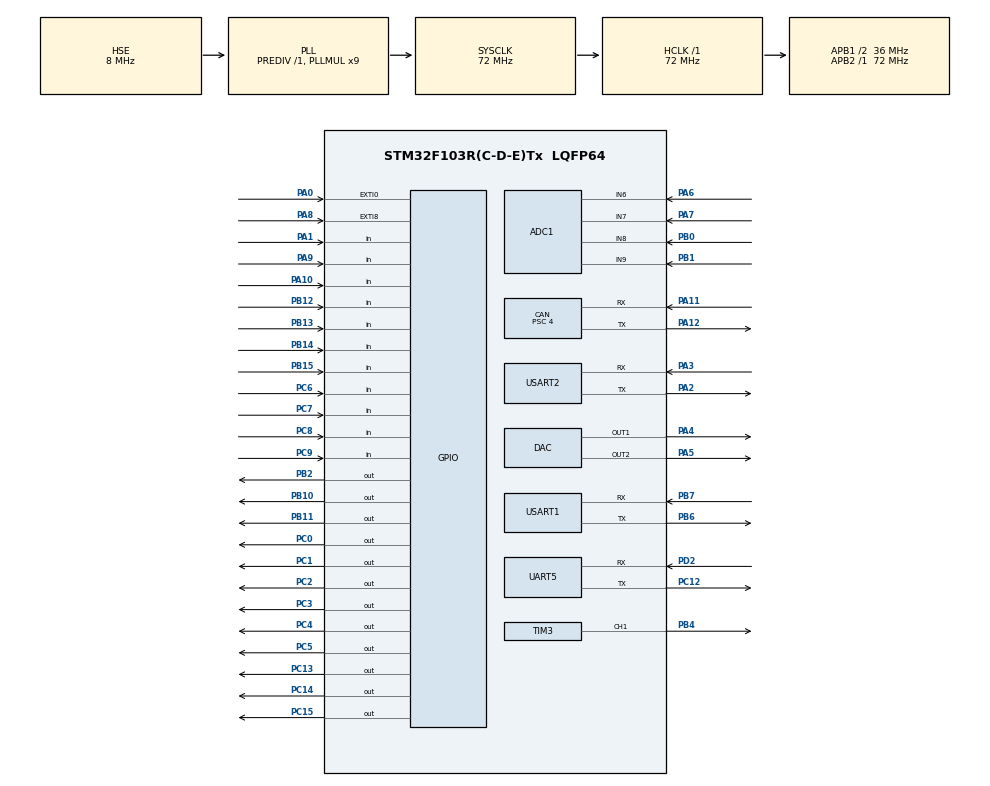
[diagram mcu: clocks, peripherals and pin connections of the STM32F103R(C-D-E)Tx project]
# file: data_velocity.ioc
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ADC1.Channel-2\#ChannelRegularConversion=ADC_CHANNEL_6
ADC1.Channel-3\#ChannelRegularConversion=ADC_CHANNEL_7
ADC1.Channel-4\#ChannelRegularConversion=ADC_CHANNEL_8
ADC1.Channel-5\#ChannelRegularConversion=ADC_CHANNEL_9
ADC1.ContinuousConvMode=ENABLE
ADC1.NbrOfConversion=4
ADC1.NbrOfConversionFlag=1
ADC1.Rank-2\#ChannelRegularConversion=1
ADC1.Rank-3\#ChannelRegularConversion=2
ADC1.Rank-4\#ChannelRegularConversion=3
ADC1.Rank-5\#ChannelRegularConversion=4
ADC1.SamplingTime-2\#ChannelRegularConversion=ADC_SAMPLETIME_1CYCLE_5
ADC1.SamplingTime-3\#ChannelRegularConversion=ADC_SAMPLETIME_1CYCLE_5
ADC1.SamplingTime-4\#ChannelRegularConversion=ADC_SAMPLETIME_1CYCLE_5
ADC1.SamplingTime-5\#ChannelRegularConversion=ADC_SAMPLETIME_1CYCLE_5
ADC1.master=1
CAN.BS1=CAN_BS1_16TQ
CAN.CalculateBaudRate=500000
CAN.CalculateTimeBit=1999.99
CAN.CalculateTimeQuantum=111.11111111111111
CAN.Prescaler=4
DAC.DAC_OutputBuffer=DAC_OUTPUTBUFFER_DISABLE
DAC.DAC_OutputBuffer2=DAC_OUTPUTBUFFER_DISABLE
DAC.DAC_Trigger=DAC_TRIGGER_NONE
Dma.Request0=USART2_RX
Dma.Request1=USART2_TX
Dma.USART2_RX.0.Direction=DMA_PERIPH_TO_MEMORY
Dma.USART2_RX.0.Instance=DMA1_Channel6
Dma.USART2_RX.0.MemDataAlignment=DMA_MDATAALIGN_BYTE
Dma.USART2_RX.0.MemInc=DMA_MINC_ENABLE
Dma.USART2_RX.0.Mode=DMA_CIRCULAR
Dma.USART2_RX.0.PeriphDataAlignment=DMA_PDATAALIGN_BYTE
Dma.USART2_RX.0.PeriphInc=DMA_PINC_DISABLE
Dma.USART2_RX.0.Priority=DMA_PRIORITY_VERY_HIGH
Dma.USART2_TX.1.Direction=DMA_MEMORY_TO_PERIPH
Dma.USART2_TX.1.Instance=DMA1_Channel7
Dma.USART2_TX.1.MemDataAlignment=DMA_MDATAALIGN_BYTE
Dma.USART2_TX.1.MemInc=DMA_MINC_ENABLE
Dma.USART2_TX.1.Mode=DMA_NORMAL
Dma.USART2_TX.1.PeriphDataAlignment=DMA_PDATAALIGN_BYTE
Dma.USART2_TX.1.PeriphInc=DMA_PINC_DISABLE
Dma.USART2_TX.1.Priority=DMA_PRIORITY_VERY_HIGH
FREERTOS.Tasks01=task_ros2,24,2100,task_ros2_function,Default,NULL,Static,urosBuffer,urosControlBlock;digital_inputs,24,128,digital_inputs_task,Default,NULL,Dynamic,NULL,NULL;analog_input,24,128,analog_input_task,Default,NULL,Dynamic,NULL,NULL;auto_man_mod,24,128,automatic_manual_mode_Task,Default,NULL,Dynamic,NULL,NULL;task_stepper,24,128,task_stepper_function,Default,NULL,Dynamic,NULL,NULL
FREERTOS.configTOTAL_HEAP_SIZE=10000
Mcu.Family=STM32F1
Mcu.Name=STM32F103R(C-D-E)Tx
Mcu.Package=LQFP64
NVIC.DMA1_Channel6_IRQn=true\:5\:0\:false\:false\:true\:true\:false\:true
NVIC.DMA1_Channel7_IRQn=true\:5\:0\:false\:false\:true\:true\:false\:true
NVIC.EXTI0_IRQn=true\:5\:0\:false\:false\:true\:true\:true\:true
NVIC.EXTI9_5_IRQn=true\:5\:0\:false\:false\:true\:true\:true\:true
NVIC.PriorityGroup=NVIC_PRIORITYGROUP_4
NVIC.TIM1_UP_IRQn=true\:15\:0\:false\:false\:true\:false\:false\:true
NVIC.TIM2_IRQn=true\:5\:0\:false\:false\:true\:true\:true\:true
NVIC.TIM3_IRQn=true\:5\:0\:false\:false\:true\:true\:true\:true
NVIC.TimeBase=TIM1_UP_IRQn
NVIC.TimeBaseIP=TIM1
NVIC.USART2_IRQn=true\:5\:0\:false\:false\:true\:true\:true\:true
NVIC.USB_LP_CAN1_RX0_IRQn=true\:5\:0\:false\:false\:true\:true\:true\:true
PA0-WKUP.Signal=GPXTI0
PA1.Signal=GPIO_Input
PA10.Signal=GPIO_Input
PA11.Mode=CAN_Activate
PA11.Signal=CAN_RX
PA12.Mode=CAN_Activate
PA12.Signal=CAN_TX
PA13.Mode=Trace_Asynchronous_SW
PA13.Signal=SYS_JTMS-SWDIO
PA14.Mode=Trace_Asynchronous_SW
PA14.Signal=SYS_JTCK-SWCLK
PA2.Mode=Asynchronous
PA2.Signal=USART2_TX
PA3.Mode=Asynchronous
PA3.Signal=USART2_RX
PA4.Signal=COMP_DAC1_group
PA5.Signal=COMP_DAC2_group
PA6.Signal=ADCx_IN6
PA7.Signal=ADCx_IN7
PA8.Signal=GPXTI8
PA9.Signal=GPIO_Input
PB0.Signal=ADCx_IN8
PB1.Signal=ADCx_IN9
PB10.Signal=GPIO_Output
PB11.Signal=GPIO_Output
PB12.Signal=GPIO_Input
PB13.Signal=GPIO_Input
PB14.Signal=GPIO_Input
PB15.Signal=GPIO_Input
PB2.Signal=GPIO_Output
PB3.Mode=Trace_Asynchronous_SW
PB3.Signal=SYS_JTDO-TRACESWO
PB4.Signal=S_TIM3_CH1
PB5.Signal=S_TIM3_CH2
PB6.Mode=Asynchronous
PB6.Signal=USART1_TX
PB7.Mode=Asynchronous
PB7.Signal=USART1_RX
PC0.Signal=GPIO_Output
PC1.Signal=GPIO_Output
PC12.Mode=Asynchronous
PC12.Signal=UART5_TX
PC13-TAMPER-RTC.Signal=GPIO_Output
PC14-OSC32_IN.Signal=GPIO_Output
PC15-OSC32_OUT.Signal=GPIO_Output
PC2.Signal=GPIO_Output
PC3.Signal=GPIO_Output
PC4.Signal=GPIO_Output
PC5.Signal=GPIO_Output
PC6.Signal=GPIO_Input
PC7.Signal=GPIO_Input
PC8.Signal=GPIO_Input
PC9.Signal=GPIO_Input
PD0-OSC_IN.Mode=HSE-External-Oscillator
PD0-OSC_IN.Signal=RCC_OSC_IN
PD1-OSC_OUT.Mode=HSE-External-Oscillator
PD1-OSC_OUT.Signal=RCC_OSC_OUT
PD2.Mode=Asynchronous
PD2.Signal=UART5_RX
ProjectManager.HeapSize=0x1000
ProjectManager.StackSize=0x400
ProjectManager.TargetToolchain=STM32CubeIDE
RCC.ADCPresc=RCC_ADCPCLK2_DIV6
RCC.AHBFreq_Value=72000000
RCC.APB1CLKDivider=RCC_HCLK_DIV2
RCC.APB1Freq_Value=36000000
RCC.APB1TimFreq_Value=72000000
RCC.APB2Freq_Value=72000000
RCC.APB2TimFreq_Value=72000000
RCC.HCLKFreq_Value=72000000
RCC.PLLMUL=RCC_PLL_MUL9
RCC.PLLSourceVirtual=RCC_PLLSOURCE_HSE
RCC.SYSCLKFreq_VALUE=72000000
RCC.SYSCLKSource=RCC_SYSCLKSOURCE_PLLCLK
RCC.USBFreq_Value=72000000
SH.ADCx_IN6.0=ADC1_IN6,IN6
SH.ADCx_IN7.0=ADC1_IN7,IN7
SH.ADCx_IN8.0=ADC1_IN8,IN8
SH.ADCx_IN9.0=ADC1_IN9,IN9
SH.COMP_DAC1_group.0=DAC_OUT1,DAC_OUT1
SH.COMP_DAC2_group.0=DAC_OUT2,DAC_OUT2
SH.S_TIM3_CH1.0=TIM3_CH1,PWM Generation1 CH1
SH.S_TIM3_CH2.0=TIM3_CH2
TIM2.Channel-Output\ Compare1\ No\ Output=TIM_CHANNEL_1
TIM2.Period=100
TIM2.Prescaler=3600
TIM3.Channel-PWM\ Generation1\ CH1=TIM_CHANNEL_1
TIM3.Period=1000
TIM3.Prescaler=36
TIM3.Pulse-PWM\ Generation1\ CH1=250
UART5.VirtualMode=Asynchronous
USART1.VirtualMode=VM_ASYNC
USART2.VirtualMode=VM_ASYNC
VP_FREERTOS_VS_CMSIS_V2.Mode=CMSIS_V2
VP_SYS_VS_tim1.Mode=TIM1
VP_TIM2_VS_ClockSourceINT.Mode=Internal
VP_TIM2_VS_no_output1.Mode=Output Compare1 No Output
VP_TIM3_VS_ClockSourceINT.Mode=Internal
VP_TIM4_VS_ClockSourceINT.Mode=Internal
board=custom

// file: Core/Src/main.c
/* USER CODE BEGIN Header */
/**
  ******************************************************************************
  * @file           : main.c
  * @brief          : Main program body
  ******************************************************************************
  * @attention
  *
  * <h2><center>&copy; Copyright (c) 2022 STMicroelectronics.
  * All rights reserved.</center></h2>
  *
  * This software component is licensed by ST under BSD 3-Clause license,
  * the "License"; You may not use this file except in compliance with the
  * License. You may obtain a copy of the License at:
  *                        opensource.org/licenses/BSD-3-Clause
  *
  ******************************************************************************
  */
/* USER CODE END Header */
#include "main.h"
#include "cmsis_os.h"
#include "adc.h"
#include "can.h"
#include "dac.h"
#include "dma.h"
#include "tim.h"
#include "usart.h"
#include "gpio.h"

void SystemClock_Config(void);
void MX_FREERTOS_Init(void);

int main(void)
{

  /* MCU Configuration--------------------------------------------------------*/

  /* Reset of all peripherals, Initializes the Flash interface and the Systick. */
HAL_Init();

  /* Configure the system clock */
  SystemClock_Config();

  /* Initialize all configured peripherals */
  MX_GPIO_Init();
  MX_DMA_Init();
  MX_USART2_UART_Init();
  MX_ADC1_Init();
  MX_DAC_Init();
  MX_UART5_Init();
  MX_CAN_Init();
  MX_TIM3_Init();
  MX_USART1_UART_Init();
  MX_TIM2_Init();
  MX_TIM4_Init();

  /* Init scheduler */
  osKernelInitialize();  /* Call init function for freertos objects (in freertos.c) */
  MX_FREERTOS_Init();
  /* Start scheduler */
  osKernelStart();

  /* We should never get here as control is now taken by the scheduler */
  /* Infinite loop */
  /* USER CODE BEGIN WHILE */
    //   uint8_t Rx_data[10];  //  creating a buffer of 10 bytes

  while (1)
  {

    /* USER CODE END WHILE */

  }
}

void SystemClock_Config(void)
{
  RCC_OscInitTypeDef RCC_OscInitStruct = {0};
  RCC_ClkInitTypeDef RCC_ClkInitStruct = {0};
  RCC_PeriphCLKInitTypeDef PeriphClkInit = {0};

  /** Initializes the RCC Oscillators according to the specified parameters
  * in the RCC_OscInitTypeDef structure.
  */
  RCC_OscInitStruct.OscillatorType = RCC_OSCILLATORTYPE_HSE;
  RCC_OscInitStruct.HSEState = RCC_HSE_ON;
  RCC_OscInitStruct.HSEPredivValue = RCC_HSE_PREDIV_DIV1;
  RCC_OscInitStruct.HSIState = RCC_HSI_ON;
  RCC_OscInitStruct.PLL.PLLState = RCC_PLL_ON;
  RCC_OscInitStruct.PLL.PLLSource = RCC_PLLSOURCE_HSE;
  RCC_OscInitStruct.PLL.PLLMUL = RCC_PLL_MUL9;
  if (HAL_RCC_OscConfig(&RCC_OscInitStruct) != HAL_OK)
  {
    Error_Handler();
  }
  /** Initializes the CPU, AHB and APB buses clocks
  */
  RCC_ClkInitStruct.ClockType = RCC_CLOCKTYPE_HCLK|RCC_CLOCKTYPE_SYSCLK
                              |RCC_CLOCKTYPE_PCLK1|RCC_CLOCKTYPE_PCLK2;
  RCC_ClkInitStruct.SYSCLKSource = RCC_SYSCLKSOURCE_PLLCLK;
  RCC_ClkInitStruct.AHBCLKDivider = RCC_SYSCLK_DIV1;
  RCC_ClkInitStruct.APB1CLKDivider = RCC_HCLK_DIV2;
  RCC_ClkInitStruct.APB2CLKDivider = RCC_HCLK_DIV1;

  if (HAL_RCC_ClockConfig(&RCC_ClkInitStruct, FLASH_LATENCY_2) != HAL_OK)
  {
    Error_Handler();
  }
  PeriphClkInit.PeriphClockSelection = RCC_PERIPHCLK_ADC;
  PeriphClkInit.AdcClockSelection = RCC_ADCPCLK2_DIV6;
  if (HAL_RCCEx_PeriphCLKConfig(&PeriphClkInit) != HAL_OK)
  {
    Error_Handler();
  }
}

void Error_Handler(void)
{
  __disable_irq();
  while (1)
  {
  }
}

/************************ (C) COPYRIGHT STMicroelectronics *****END OF FILE****/

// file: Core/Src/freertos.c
/* USER CODE BEGIN Header */
/**
  ******************************************************************************
  * File Name          : freertos.c
  * Description        : Code for freertos applications
  ******************************************************************************
  * @attention
  *
  * Copyright (c) 2022 STMicroelectronics.
  * All rights reserved.
  *
  * This software is licensed under terms that can be found in the LICENSE file
  * in the root directory of this software component.
  * If no LICENSE file comes with this software, it is provided AS-IS.
  *
  ******************************************************************************
  */
/* USER CODE END Header */

#include "FreeRTOS.h"
#include "task.h"
#include "main.h"
#include "cmsis_os.h"
/* USER CODE BEGIN Includes */
/* USER CODE BEGIN Includes */
#include "usart.h"
#include "gpio.h"
#include "dma.h"
#include "adc.h"
#include "can.h"
#include "dac.h"
#include "tim.h"
#include "stdbool.h"
#include <time.h>
#include <math.h>
#include <stdio.h>
#include <string.h>
#include "stepper.h"

#include <rcl/rcl.h>
#include <rcl/error_handling.h>
#include <rclc/rclc.h>
#include <rclc/executor.h>
#include <uxr/client/transport.h>
#include <rmw_microxrcedds_c/config.h>
#include <rmw_microros/rmw_microros.h>
#include <rosidl_runtime_c/string.h>

#include <std_msgs/msg/u_int8.h>
#include <std_msgs/msg/u_int32.h>
#include <std_msgs/msg/int32.h>
#include <std_msgs/msg/u_int32.h>
#include <sensor_msgs/msg/nav_sat_fix.h>
#include <std_msgs/msg/u_int16_multi_array.h>
#include <std_msgs/msg/u_int8_multi_array.h>
#include <std_msgs/msg/float32_multi_array.h>
#include <std_msgs/msg/string.h>
#include <sensor_msgs/msg/imu.h>
#include <sensor_msgs/msg/nav_sat_fix.h>
#include <sensor_msgs/msg/joint_state.h>
#include <std_msgs/msg/float32.h>
#include <nav_msgs/msg/odometry.h>

#include <sensor_msgs/msg/joint_state.h>
#include <geometry_msgs/msg/twist.h>

/* USER CODE END Includes */

typedef StaticTask_t osStaticThreadDef_t;
/* USER CODE BEGIN PTD */

////////////////////////////////////////
////////////////////////////////////////
// INICIO - AQUISIÇÃO DE DADOS DOS SENSORES
////////////////////////////////////////
////////////////////////////////////////

// INICIO -  BUFFERS APLICADOS AO MICROROS
uint8_t flg = 0;             //modo de operação do golfinho manual-0 ; auto-1;
uint8_t flg_ImuGps_Sterr=0;  //informa qual topico enviou os dados para a placa principal: CAN IMU_GPS - 0 , STEER - 1;
uint8_t digital_data_input_manual[5] = {0,0,0,0,0};
uint16_t analog_data_input_manual[6] = {0,0,0,0,0,0};
uint8_t digital_data_input_auto[5] = {0,0,0,0,0};
uint16_t analog_data_input_auto[6] = {0,0,0,0,0,0};
double cmd_vel_buff[2]={0,0};
// FIM -  BUFFERS APLICADOS AO MICROROS

// INICIO - CAN VARIÁVEIS
CAN_TxHeaderTypeDef txHeader;          //CAN Bus Transmit Header
CAN_RxHeaderTypeDef rxHeader;          //CAN Bus Receive Header
uint8_t canRX[8] = {0,0,0,0,0,0,0,0};  //CAN Bus Receive Buffer

CAN_FilterTypeDef canfil;              //CAN Bus Filter
uint32_t canMailbox;                   //CAN Bus Mail box variable
uint16_t  steer_info;
// INICIO - CAN VARIÁVEIS

// INICIO - MOTOR DE PASSO - VARIÁVEIS
#define TF_STEPPER_INT  1<<0
#define TF_STEPPER_DATA 1<<1
#define TF_MAIN_ROS_CMD 1<<0
stepper_t stepper;
// FIM - MOTOR DE PASSO - VARIAVEIS

// INICIO - LEITURA DOS ENCODERS

//ENCODER INCREMENTAL

int32_t  count_a=0,count_pulse_a=0; // ENCODER DIREITO
int32_t  count_b=0,count_pulse_b=0; // ENCODER ESQUERDO
uint32_t Nmax_rev=3600;             // RESOLUÇÃO

float angle_resolution=0.05, Ts=0.01, vel[4]={0,0,0,0};

// Esta função utiliza interrupção para realizar
// a leitura dos encoders e registrar o numero de pulsos e sentido
void HAL_GPIO_EXTI_Callback(uint16_t GPIO_Pin){

   if(GPIO_Pin == GPIO_PIN_0){                  // LEITURA DO NUMERO DE PULSOS DO LADO DIREITO
	   if(HAL_GPIO_ReadPin(GPIOA, GPIO_PIN_1))
	     {count_a++; count_pulse_a++;}
	   else
		 {count_a--; count_pulse_a--;}
    }

   if(GPIO_Pin == GPIO_PIN_8){                 // LEITURA DO NUMERO DE PULSOS DO LADO ESQUERDO
	  if(HAL_GPIO_ReadPin(GPIOA, GPIO_PIN_9))
           {count_b--; count_pulse_b--;}
	    else
 	   	   {count_b++; count_pulse_b++;}
    }
}

//ENCODER ABSOLUTO - BUFFER
unsigned int encoder_abs[2]={0,0};     //{angle,velocity}
float encoder_abs_f[2]={0,0};
float hex2float(uint16_t,uint16_t);    //Função de conversão binario para float
// FIM - LEITURA DOS ENCODERS

// INICIO - ENVIAR DADOS VELOCIDADE - VIA SERIAL
uint8_t h[10];
char str1[10];
// FIM   -  ENVIAR DADOS VELOCIDADE - VIA SERIAL

////////////////////////////////////////
////////////////////////////////////////
// FIM - AQUISIÇÃO DE DADOS DOS SENSORES
////////////////////////////////////////
////////////////////////////////////////

/////////////////////////////////////////////
/////////////////////////////////////////////
//INICIO - VARIÁVEIS DO CONTROLE LONGITUDINAL
/////////////////////////////////////////////
/////////////////////////////////////////////

float sp=0,erro=0,u=0,kp=0;
float vel_fil_p=0, vel_fil=0, wc=2*3.1415*0.5,Tams=0.04;
uint16_t ofst_break= 350;

/////////////////////////////////////////////
/////////////////////////////////////////////
/////FIM - VARIÁVEIS DO CONTROLE LONGITUDINAL
/////////////////////////////////////////////
/////////////////////////////////////////////
HAL_StatusTypeDef status;

float var_stepper_motor = 0, gain_stepper = 16900/(2*780);
int   flg_spm = 0;

/* USER CODE END PTD */

///////////////////////////////////////////
///////////////////////////////////////////
//INICIO - TIPOS DE DADOS APLICADOS AO UROS
///////////////////////////////////////////
///////////////////////////////////////////

/* USER CODE BEGIN PD */
/*
 * Verifica a estado da chave do carrinho:
 *  1- desligado;
 *  2- frente;
 *  3 - trás;
 *  4 - Neutro;
 *  Modo de operaçâo:
 *  0 - manual
 *  1 - automatico
 * Check de sensores do carrinho:
 *  1- RBS_02;
 *  2- Encoders;
 *  3 - GPS;------------------------------------ A informação sobre os status do sensor será recebido atráves da comunicação CAN da placa IMU-GPS.
 *  4 - IMU;
 *  5 -
 *  6 -
 * */
//std_msgs__msg__UInt8MultiArray  golfinho_motion_status_gps_msg;
/*
 * Check de sensores do carrinho:
 *  1- Angulo de esterçamento;
 *  2- aceleração (%);
 *  3- frenagem (%);
 *  4- velocidade linear;
 *  5- velocidade angular roda esquerda;
 *  6- velocidade angular esquerda;
 * */
std_msgs__msg__Float32MultiArray golfinho_motion_status_gps_msg;
// IMU data
sensor_msgs__msg__Imu imu_;
// GPS data
//sensor_msgs__msg__NavSatFix gps_;
// Joint state data
sensor_msgs__msg__JointState joint_steering;
// Twist (comand_vel)
geometry_msgs__msg__Twist cmd_vel;
// Operation mode
std_msgs__msg__UInt8 operation_mode_;
// Odometry
nav_msgs__msg__Odometry odom;

/* USER CODE END PD */

/* USER CODE BEGIN Variables */

/* Publisher declaration */
rcl_publisher_t ros2_motion_status_gps_pub;
rcl_publisher_t ros2_imu_pub;
rcl_publisher_t ros2_joint_steering_pub;
rcl_publisher_t odom_pub;

/* Subscriber declaration */
rcl_subscription_t cmd_vel_sub;
rcl_subscription_t operation_mode_sub;

/* ROS timer declaration */
rcl_timer_t golfinho_motion_status_gps_timer;
rcl_timer_t golfinho_imu_timer;
rcl_timer_t golfinho_joint_steering_timer;
rcl_timer_t operation_mode_timer;
rcl_timer_t odom_timer;
HAL_StatusTypeDef status;

///////////////////////////////////////////
///////////////////////////////////////////
//FIM - TIPOS DE DADOS APLICADOS AO UROS
///////////////////////////////////////////
///////////////////////////////////////////

/* USER CODE END Variables */
/* Definitions for task_ros2 */

///////////////////////////////////////////
///////////////////////////////////////////
//INICIO - DEFINIÇÃO DE TAREFAS FREERTOS
///////////////////////////////////////////
///////////////////////////////////////////

osThreadId_t task_ros2Handle;
uint32_t defaultTaskBuffer[ 1800 ];
osStaticThreadDef_t defaultTaskControlBlock;
const osThreadAttr_t task_ros2_attributes = {
  .name = "task_ros2",
  .cb_mem = &defaultTaskControlBlock,
  .cb_size = sizeof(defaultTaskControlBlock),
  .stack_mem = &defaultTaskBuffer[0],
  .stack_size = sizeof(defaultTaskBuffer),
  .priority = (osPriority_t) osPriorityNormal,
};

/* Definitions for digital_inputs */
osThreadId_t digital_inputsHandle;
const osThreadAttr_t digital_inputs_attributes = {
  .name = "digital_inputs",
  .stack_size = 128 * 4,
  .priority = (osPriority_t) osPriorityNormal,
};
/* Definitions for analog_input */
osThreadId_t analog_inputHandle;
const osThreadAttr_t analog_input_attributes = {
  .name = "analog_input",
  .stack_size = 128 * 4,
  .priority = (osPriority_t) osPriorityNormal,
};
/* Definitions for auto_man_mod */
osThreadId_t auto_man_modHandle;
const osThreadAttr_t auto_man_mod_attributes = {
  .name = "auto_man_mod",
  .stack_size = 128 * 4,
  .priority = (osPriority_t) osPriorityNormal,
};
/* Definitions for task_stepper */
osThreadId_t task_stepperHandle;
const osThreadAttr_t task_stepper_attributes = {
  .name = "task_stepper",
  .stack_size = 128 * 4,
  .priority = (osPriority_t) osPriorityNormal,
};
/* USER CODE BEGIN FunctionPrototypes */
///////////////////////////////////////////
///////////////////////////////////////////
//FIM - DEFINIÇÃO DE TAREFAS FREERTOS
///////////////////////////////////////////
///////////////////////////////////////////

///////////////////////////////////////////
///////////////////////////////////////////
//INICIO - FUNÇÕES APLICADAS AO UROS
///////////////////////////////////////////
///////////////////////////////////////////

//Publishers
void golfinho_motion_status_gps_timer_callback(rcl_timer_t * timer, int64_t last_call_time);
void golfinho_imu_timer_callback(rcl_timer_t * timer, int64_t last_call_time);
void golfinho_joint_steering_timer_callback(rcl_timer_t * timer, int64_t last_call_time);
void odom_callback(rcl_timer_t * timer, int64_t last_call_time);

//Subscribers
void cmd_vel_callback(const void * msgin);
void operation_mode_callback(const void * msgin);

// Functions used by uros
bool cubemx_transport_open(struct uxrCustomTransport * transport);
bool cubemx_transport_close(struct uxrCustomTransport * transport);
size_t cubemx_transport_write(struct uxrCustomTransport* transport, const uint8_t * buf, size_t len, uint8_t * err);
size_t cubemx_transport_read(struct uxrCustomTransport* transport, uint8_t* buf, size_t len, int timeout, uint8_t* err);

void * microros_allocate(size_t size, void * state);
void microros_deallocate(void * pointer, void * state);
void * microros_reallocate(void * pointer, size_t size, void * state);
void * microros_zero_allocate(size_t number_of_elements, size_t size_of_element, void * state);

///////////////////////////////////////////
///////////////////////////////////////////
///////////////////////////////////////////
//FIM - FUNÇÕES APLICADAS AO UROS
///////////////////////////////////////////
///////////////////////////////////////////

///////////////////////////////////////////
///////////////////////////////////////////
//INICIO-FUNÇÕES USADAS NA AQUISIÇÃO DE DADOS ANALOGICOS
///////////////////////////////////////////
///////////////////////////////////////////

void ADC_select_channel_break (void);
void ADC_select_channel_Throttle (void);
void ADC_select_channel_batery_car(void);
void ADC_select_channel_system_batery(void);

///////////////////////////////////////////
///////////////////////////////////////////
//FIM-FUNÇÕES USADAS NA AQUISIÇÃO DE DADOS ANALOGICOS
///////////////////////////////////////////
///////////////////////////////////////////

uint32_t stepper_interval = 65000;
void signal_pos_stepper(uint32_t);
void change_period(void);
float app_golfin[2];
/* USER CODE END FunctionPrototypes */

/////////////////////////////////////////////////////
/////////////////////////////////////////////////////
//INICIO - CABEÇALHOS DAS TAREFAS CRIADAS NO FREERTOS
/////////////////////////////////////////////////////
/////////////////////////////////////////////////////

void task_ros2_function(void *argument);
void digital_inputs_task(void *argument);
void analog_input_task(void *argument);
void automatic_manual_mode_Task(void *argument);
void task_stepper_function(void *argument);

/////////////////////////////////////////////////////
/////////////////////////////////////////////////////
/////FIM - CABEÇALHOS DAS TAREFAS CRIADAS NO FREERTOS
/////////////////////////////////////////////////////
/////////////////////////////////////////////////////

void MX_FREERTOS_Init(void); /* (MISRA C 2004 rule 8.1) */

void MX_FREERTOS_Init(void) {
  /* USER CODE BEGIN Init */
	  HAL_DAC_Start(&hdac, DAC_CHANNEL_1);
	  HAL_DAC_Start(&hdac, DAC_CHANNEL_2);
	  HAL_TIM_Base_Start_IT(&htim2);

   // Configuração da comunicação CAN

   // CAN configuration transmiter
	  txHeader.DLC = 8;
	  txHeader.IDE = CAN_ID_STD; //CAN_ID_EXT
	  txHeader.RTR = CAN_RTR_DATA;
	  txHeader.StdId = 0x2BC;
   // CAN configuration filter
	  canfil.FilterActivation = CAN_FILTER_ENABLE;
	  canfil.FilterBank = 10;
	  canfil.FilterFIFOAssignment = CAN_FILTER_FIFO0;
	  canfil.FilterIdHigh =0xFF;
	  canfil.FilterIdLow = 0;
	  canfil.FilterMaskIdHigh = 0x000;
	  canfil.FilterMaskIdLow = 0x0000;
	  canfil.FilterMode = CAN_FILTERMODE_IDMASK;
	  canfil.FilterScale = CAN_FILTERSCALE_32BIT;
	  canfil.SlaveStartFilterBank = 0;

	  HAL_CAN_ConfigFilter(&hcan,&canfil);
     // Start Can
	  HAL_CAN_Start(&hcan);
     // Start Callback receive data
	  if(HAL_CAN_ActivateNotification(&hcan, CAN_IT_RX_FIFO0_MSG_PENDING) != HAL_OK){Error_Handler();}

  /* USER CODE END Init */

  /* Create the thread(s) */
  /* creation of task_ros2 */
  task_ros2Handle = osThreadNew(task_ros2_function, NULL, &task_ros2_attributes);

  /* creation of digital_inputs */
  digital_inputsHandle = osThreadNew(digital_inputs_task, NULL, &digital_inputs_attributes);

  /* creation of analog_input */
  analog_inputHandle = osThreadNew(analog_input_task, NULL, &analog_input_attributes);

  /* creation of auto_man_mod */
  auto_man_modHandle = osThreadNew(automatic_manual_mode_Task, NULL, &auto_man_mod_attributes);

  /* creation of task_stepper */
  task_stepperHandle = osThreadNew(task_stepper_function, NULL, &task_stepper_attributes);

  stepper.currentPos = 0;    //CONDIÇÕES INICIAIS DO MOTOR DE PASSO
  stepper.targetPos = 0;
  osThreadFlagsSet(task_stepperHandle, TF_STEPPER_DATA);

}

rcl_ret_t rc1;
rcl_ret_t rc2;

void task_ros2_function(void *argument)
{
  /* USER CODE BEGIN task_ros2_function */
	// micro-ROS configuration
		  rmw_uros_set_custom_transport(
			true,
			(void *) &huart2,
			cubemx_transport_open,
			cubemx_transport_close,
			cubemx_transport_write,
			cubemx_transport_read);

		  rcl_allocator_t freeRTOS_allocator = rcutils_get_zero_initialized_allocator();
		  freeRTOS_allocator.allocate = microros_allocate;
		  freeRTOS_allocator.deallocate = microros_deallocate;
		  freeRTOS_allocator.reallocate = microros_reallocate;
		  freeRTOS_allocator.zero_allocate =  microros_zero_allocate;

	  if (!rcutils_set_default_allocator(&freeRTOS_allocator)) {
		  printf("Error on default allocators (line %d)\n", __LINE__);
	  }

	  rclc_support_t support;
	  rcl_allocator_t allocator;
	  rcl_node_t node;
	  rclc_executor_t executor;
	  rcl_init_options_t init_options;

	  allocator = rcl_get_default_allocator();
	  init_options = rcl_get_zero_initialized_init_options();
	  rcl_ret_t rc = rcl_init_options_init(&init_options, allocator);
	  if (RCL_RET_OK != rc) {// Handle error
		  return;
	     }
	  // create init_options
	  rclc_support_init_with_options(&support, 0, NULL, &init_options, &allocator);

	  // create node
	   rclc_node_init_default(&node, "golfinho", "acquisition_system", &support);

	  //time sync
	  if( rmw_uros_sync_session(1000) != RMW_RET_OK)
		  printf("Error on time sync (line %d)\n", __LINE__);

	  // ros2_motion_status_gps_pub
	  rclc_publisher_init_default(
			  &ros2_motion_status_gps_pub,
			  &node,
			  ROSIDL_GET_MSG_TYPE_SUPPORT(std_msgs, msg, Float32MultiArray),
			  "/golfinho/diagnostics/motion_status_gps");

	  // ros2_imu_pub
	  rclc_publisher_init_default(
			  &ros2_imu_pub,
			  &node,
			  ROSIDL_GET_MSG_TYPE_SUPPORT(sensor_msgs, msg, Imu),
			  "/golfinho/imu");

	  // odom_pub
	  rclc_publisher_init_default(
			  &odom_pub,
			  &node,
			  ROSIDL_GET_MSG_TYPE_SUPPORT(nav_msgs, msg, Odometry),
			  "/golfinho/odom");

	  // ros2_joint_steering_pub
	  rclc_publisher_init_default(
			  &ros2_joint_steering_pub,
			  &node,
			  ROSIDL_GET_MSG_TYPE_SUPPORT(sensor_msgs, msg, JointState),
			  "/golfinho/joint_steering");

	  //create cmd_vel_sub
	  cmd_vel_sub = rcl_get_zero_initialized_subscription();
          rclc_subscription_init_best_effort(
			  &cmd_vel_sub,
			  &node,
			  ROSIDL_GET_MSG_TYPE_SUPPORT(geometry_msgs, msg, Twist),
			  "/golfinho/cmd_vel");

	  //create operation_mode_sub
	  operation_mode_sub = rcl_get_zero_initialized_subscription();
          rclc_subscription_init_best_effort(
			  &operation_mode_sub,
			  &node,
			  ROSIDL_GET_MSG_TYPE_SUPPORT(std_msgs, msg, UInt8),
			  "/golfinho/operation_mode");

//##############################################################################################################
//##################################### Alocação de memória ####################################################
//##############################################################################################################

		 	golfinho_motion_status_gps_msg.data.capacity = 14;
		 	golfinho_motion_status_gps_msg.data.size = 14;
		 	golfinho_motion_status_gps_msg.data.data = (float *) pvPortMalloc(golfinho_motion_status_gps_msg.data.capacity * sizeof(float));
		 	golfinho_motion_status_gps_msg.layout.dim.capacity = 14;
		 	golfinho_motion_status_gps_msg.layout.dim.size = 14;
		 	golfinho_motion_status_gps_msg.layout.dim.data = (std_msgs__msg__MultiArrayDimension*) pvPortMalloc(golfinho_motion_status_gps_msg.layout.dim.capacity * sizeof(std_msgs__msg__MultiArrayDimension));
			 	  for (size_t i =0; i< golfinho_motion_status_gps_msg.layout.dim.capacity; i++){
			 		golfinho_motion_status_gps_msg.layout.dim.data[i].label.capacity = 14;
			 		golfinho_motion_status_gps_msg.layout.dim.data[i].label.size = 14;
			 		golfinho_motion_status_gps_msg.layout.dim.data[i].label.data = (char*) pvPortMalloc(golfinho_motion_status_gps_msg.layout.dim.data[i].label.capacity * sizeof(char));
			 	  }

			 	  strcpy(golfinho_motion_status_gps_msg.layout.dim.data[0].label.data, "reserved");
			 	  strcpy(golfinho_motion_status_gps_msg.layout.dim.data[1].label.data, "steering");
			 	  strcpy(golfinho_motion_status_gps_msg.layout.dim.data[2].label.data, "throttle");
			 	  strcpy(golfinho_motion_status_gps_msg.layout.dim.data[3].label.data, "break");
			 	  strcpy(golfinho_motion_status_gps_msg.layout.dim.data[4].label.data, "bat_car");
			 	  //check status
			 	  strcpy(golfinho_motion_status_gps_msg.layout.dim.data[5].label.data, "bat_sys");
			 	  strcpy(golfinho_motion_status_gps_msg.layout.dim.data[6].label.data, "status");
			 	  strcpy(golfinho_motion_status_gps_msg.layout.dim.data[7].label.data, "op_mod");
			 	  strcpy(golfinho_motion_status_gps_msg.layout.dim.data[8].label.data, "key_th");
			 	  strcpy(golfinho_motion_status_gps_msg.layout.dim.data[9].label.data, "key_br");
                  //gps
			 	  strcpy(golfinho_motion_status_gps_msg.layout.dim.data[10].label.data, "altitude");
			 	  strcpy(golfinho_motion_status_gps_msg.layout.dim.data[11].label.data, "latitude");
			 	  strcpy(golfinho_motion_status_gps_msg.layout.dim.data[12].label.data, "longitude");

						int STRING_BUFFER_LEN=25;
	//imu
				    	char imu_buffer[STRING_BUFFER_LEN];
				    	imu_.header.frame_id.data = imu_buffer;
				    	imu_.header.frame_id.capacity = STRING_BUFFER_LEN;

	//odom
				    	char odom_buffer[STRING_BUFFER_LEN];
				    	odom.header.frame_id.data = odom_buffer;
				    	odom.header.frame_id.capacity = STRING_BUFFER_LEN;

				    	char child_frame_id[25];
				    	odom.child_frame_id.data = child_frame_id;
				    	odom.child_frame_id.capacity = 25;
	// joint_steering
				    				    	char joint_steering_buffer[STRING_BUFFER_LEN];
				    				    	joint_steering.header.frame_id.data = joint_steering_buffer;
				    				    	joint_steering.header.frame_id.capacity = STRING_BUFFER_LEN;

				    				    	joint_steering.name.capacity = 1;
				    						joint_steering.name.size = 1;
				    						joint_steering.name.data = (rosidl_runtime_c__String *) pvPortMalloc(joint_steering.name.capacity * sizeof(rosidl_runtime_c__String));

				    						joint_steering.name.data->capacity = 5;
				    						joint_steering.name.data->size = 5;
				    						joint_steering.name.data->data = (char*) pvPortMalloc(joint_steering.name.capacity * sizeof(char));
				    					 	strcpy(joint_steering.name.data->data, "steer");

				    					 	joint_steering.velocity.capacity = 1;
				    					 	joint_steering.velocity.size = 1;
				    					 	joint_steering.velocity.data = (double*) pvPortMalloc(joint_steering.name.capacity * sizeof(double));

				    					 	joint_steering.position.capacity = 1;
				    					 	joint_steering.position.size = 1;
				    					 	joint_steering.position.data = (double*) pvPortMalloc(joint_steering.name.capacity * sizeof(double));

				    					 	joint_steering.effort.capacity = 1;
				    					 	joint_steering.effort.size = 1;
				    					 	joint_steering.effort.data = (double*) pvPortMalloc(joint_steering.name.capacity * sizeof(double));
	  // Create a timer
	  rclc_timer_init_default(&golfinho_imu_timer, &support, RCL_MS_TO_NS(40), golfinho_imu_timer_callback);
	  rclc_timer_init_default(&odom_timer, &support, RCL_MS_TO_NS(40), odom_callback);
      rclc_timer_init_default(&golfinho_joint_steering_timer, &support, RCL_MS_TO_NS(40), golfinho_joint_steering_timer_callback);
	  rclc_timer_init_default(&golfinho_motion_status_gps_timer, &support, RCL_MS_TO_NS(500), golfinho_motion_status_gps_timer_callback);

	  // Create executor
	  rclc_executor_init(&executor, &support.context, 6, &allocator);

	  rclc_executor_add_subscription(&executor, &cmd_vel_sub, &cmd_vel,
	 	  			  &cmd_vel_callback, ON_NEW_DATA); // ON_NEW_DATA does not work properly
          rclc_executor_add_subscription(&executor, &operation_mode_sub, &operation_mode_,
	 	  			  &operation_mode_callback, ON_NEW_DATA);

	  rclc_executor_add_timer(&executor, &odom_timer);
	  rclc_executor_add_timer(&executor, &golfinho_joint_steering_timer);
	  rclc_executor_add_timer(&executor, &golfinho_imu_timer);
	  rclc_executor_add_timer(&executor, &golfinho_motion_status_gps_timer);

      // Run executor
	  rclc_executor_spin(&executor);

	  /* Infinite loop */
	  for(;;) osDelay(10);

  /* USER CODE END task_ros2_function */
}

float hex2float(uint16_t tmp,uint16_t tmp1){
	 float ang_res_enc_abs = 0.0625043405792069;
	 encoder_abs[0]=tmp << 8 | tmp1;
     tmp=encoder_abs[0];
     if(!tmp)
        return 0;
     else
       if(tmp>0 && tmp<=14399)
    	   return trunc((float)tmp*ang_res_enc_abs*1000)/1000;
    	  else
           if(tmp>14399)
              return trunc((float)(tmp-65535)*ang_res_enc_abs*1000)/1000;

     return -1;
}

// UTILIZADA PARA COLETAR AS INFORMAÇÕES DIGITAIS DO KEY-SWITCH
uint8_t stats[3]={0,0,0};

////REALIZA A LEITURA DA ENTRADAS DIGITAIS
////REALIZA O CALCULO DE VELOCIDADE DOS ENCODERS
////RECEBE A ATUALIZAÇÃO DA POSIÇÃO DO ESTERÇAMENTO

void digital_inputs_task(void *argument){
  /* USER CODE BEGIN digital_inputs_task */
  /* Infinite loop */
	  for(;;){
		  //////////////////////////////////////////
		  ////INICIO - LEITURA DAS ENTRADAS DIGITAIS
		  //////////////////////////////////////////
		  // key switch read
		  stats[0]=!(HAL_GPIO_ReadPin(GPIOB, GPIO_PIN_14));   //a             num41                               -- BRANCO
		  stats[1]=!(HAL_GPIO_ReadPin(GPIOB, GPIO_PIN_15));   //c (antes pb15)  	num42		     			  -- VERDE
		  stats[2]=!(HAL_GPIO_ReadPin(GPIOC, GPIO_PIN_7));    //d (antes pc6)  agora entrada do buzzer pc7 num 46  -- VERMELHO

		  // break read
		  digital_data_input_manual[4] = !(HAL_GPIO_ReadPin(GPIOB, GPIO_PIN_13));
		  // throttle read
		  digital_data_input_manual[3] = !(HAL_GPIO_ReadPin(GPIOB, GPIO_PIN_12));

		  if(stats[0] || stats[1] || stats[2]){
			  if(stats[1] && stats[2])  //Frente
			 	digital_data_input_manual[1] = 2; //a
			  if(stats[0] && stats[2])  // Ré
			 	digital_data_input_manual[1] = 3; //c
			  if(stats[2] && !stats[1] && !stats[0])  // Neutro
			    digital_data_input_manual[1] = 4; //d
		  }else
			  digital_data_input_manual[1]=1;
		  ///////////////////////////////////////
		  ////FIM - LEITURA DAS ENTRADAS DIGITAIS
		  ///////////////////////////////////////

		    /////////////////////////////////
		    ////INICIO - CÁLCULO DA VELOCIDADE LINEAR
		    /////////////////////////////////
			vel[0] = 0.3277*2*3.1415*(count_a)/(Nmax_rev*Ts); count_a = 0; //  m/s  // roda direita
			vel[1] = (vel[0]/0.3277)*60/(2*3.1415);//RPM

			vel[2] = 0.3492*2*3.1415*(count_b)/(Nmax_rev*Ts); count_b = 0; //  m/s  // roda esquerda
			vel[3] = vel[2]*60/(2*3.1415);//RPM
			//////////////////////////////////////////
	        //// FIM - CÁLCULO DA VELOCIDADE LINEAR
		    //////////////////////////////////////////

			//////////////////////////////////////////////
			////INICIO - CÁLCULO DA POSIÇÃO DO ESTERÇMENTO
			//////////////////////////////////////////////

			//Verifica se a informação enviada vem do encoder absoluto
		    if(flg_ImuGps_Sterr){encoder_abs_f[0] = (hex2float(canRX[1],canRX[2]) - 13.563);}
			//////////////////////////////////////////////
			////FIM - CÁLCULO DA POSIÇÃO DO ESTERÇMENTO
			//////////////////////////////////////////////
		    osDelay(10); //ATUALIZA A CADA 10ms
	  }
  /* USER CODE END digital_inputs_task */
}

void analog_input_task(void *argument)
{
  /* USER CODE BEGIN analog_input_task */
	/* Infinite loop */
  for(;;){
	      //////////////////////////////////////////////////////////////
	      //REALIZA A LEITURA DO FREIO E ESTERÇAMENTO UTILIZANDO POLLING
	      //////////////////////////////////////////////////////////////
		  ADC_select_channel_batery_car(); // freio
		  HAL_ADC_Start(&hadc1);
		  HAL_ADC_PollForConversion(&hadc1, 10);
		  analog_data_input_manual[2] = 6.5*(HAL_ADC_GetValue(&hadc1));
   	      if(analog_data_input_manual[2] < ofst_break)
   	    	analog_data_input_manual[2] = ofst_break;
		  HAL_ADC_Stop(&hadc1);

		  ADC_select_channel_system_batery();  //acelerador
		  HAL_ADC_Start(&hadc1);
		  HAL_ADC_PollForConversion(&hadc1, 10);
		  analog_data_input_manual[3] = 6.5*(HAL_ADC_GetValue(&hadc1));
		  if(analog_data_input_manual[3]>4095)
		  analog_data_input_manual[3]=4095;
		  HAL_ADC_Stop(&hadc1);
	      //////////////////////////////////////////////////////////////
	      //REALIZA A LEITURA DO FREIO E ESTERÇAMENTO UTILIZANDO POLLING
	      //////////////////////////////////////////////////////////////
		  HAL_Delay(20); //ATUALIZA A CADA 20ms
  }
  /*
  	  // Get ADC value
  		  ADC_select_channel_Throttle();
  		  HAL_ADC_Start(&hadc1);
  		  HAL_ADC_PollForConversion(&hadc1, 10);
  		  analog_data_input_manual[5] = 1.0*(HAL_ADC_GetValue(&hadc1)); // 2->4
  		  HAL_ADC_Stop(&hadc1);

  	      ADC_select_channel_break();
  		  HAL_ADC_Start(&hadc1);
  		  HAL_ADC_PollForConversion(&hadc1, 10);
  		  analog_data_input_manual[4] = 1.0*(HAL_ADC_GetValue(&hadc1)); //3->5
  		  HAL_ADC_Stop(&hadc1);
  */
  /* USER CODE END analog_input_task */
}

void _teste_stepper_(void){//Utilizada apenas para verificar o funcionamento dos sinais de controle do motor de passo
	if(flg_spm){
        stepper.targetPos = var_stepper_motor*gain_stepper;
        osThreadFlagsSet(task_stepperHandle, TF_STEPPER_DATA);
        flg_spm = 0;
	}
}

float cmd_a = 0;

void automatic_manual_mode_Task(void *argument){
  /* USER CODE BEGIN automatic_manual_mode_Task */
  /* Infinite loop */
	uint16_t ofst = 400;
	for(;;){

	  switch(flg){

	    case 0:
    //KEY SWITCH
	      switch(digital_data_input_manual[1]){

	    	 case 1:
	              HAL_GPIO_WritePin(GPIOC, GPIO_PIN_2,GPIO_PIN_RESET); //a -- BRANCO
	              HAL_GPIO_WritePin(GPIOC, GPIO_PIN_3,GPIO_PIN_RESET); //c -- VERDE
	              HAL_GPIO_WritePin(GPIOC, GPIO_PIN_4,GPIO_PIN_RESET); //d -- VERMELHO
		     break;
	//FRENTE
	    	 case 2:
   	    	      HAL_GPIO_WritePin(GPIOC, GPIO_PIN_2,GPIO_PIN_RESET); //a -- BRANCO
 	              HAL_GPIO_WritePin(GPIOC, GPIO_PIN_3,GPIO_PIN_SET);   //c -- VERDE
	              HAL_GPIO_WritePin(GPIOC, GPIO_PIN_4,GPIO_PIN_SET);   //d -- VERMELHO
             break;
	// RÉ
	    	 case 3:
			              HAL_GPIO_WritePin(GPIOC, GPIO_PIN_2,GPIO_PIN_SET);     //a -- BRANCO
			         	  HAL_GPIO_WritePin(GPIOC, GPIO_PIN_3,GPIO_PIN_RESET);   //c -- VERDE
			              HAL_GPIO_WritePin(GPIOC, GPIO_PIN_4,GPIO_PIN_SET);     //d -- VERMELHO
                    break;
	// NEUTRO
	    	 case 4:
                      	 HAL_GPIO_WritePin(GPIOC, GPIO_PIN_2,GPIO_PIN_RESET);   //a -- BRANCO
                       	 HAL_GPIO_WritePin(GPIOC, GPIO_PIN_3,GPIO_PIN_RESET);   //c -- VERDE
                         HAL_GPIO_WritePin(GPIOC, GPIO_PIN_4,GPIO_PIN_SET);     //d -- VERMELHO
             break;
	     }
    //THROTTLE
                         if(digital_data_input_manual[3]){
            	            HAL_GPIO_WritePin(GPIOC, GPIO_PIN_0,GPIO_PIN_SET);
           	                HAL_DAC_SetValue(&hdac, DAC_CHANNEL_1,DAC_ALIGN_12B_R, analog_data_input_manual[3]);
                          }else if(!digital_data_input_manual[3]){
            	            	HAL_DAC_SetValue(&hdac, DAC_CHANNEL_1,DAC_ALIGN_12B_R,  ofst);
            	            	HAL_GPIO_WritePin(GPIOC, GPIO_PIN_0,GPIO_PIN_RESET);
            	            }
    //BREAK
                         if(digital_data_input_manual[4]){
                 	        HAL_GPIO_WritePin(GPIOC, GPIO_PIN_1,GPIO_PIN_SET);
                            HAL_DAC_SetValue(&hdac, DAC_CHANNEL_2,DAC_ALIGN_12B_R, analog_data_input_manual[2]);
                         }else if(!digital_data_input_manual[4]){
            	            	 HAL_DAC_SetValue(&hdac, DAC_CHANNEL_2,DAC_ALIGN_12B_R, analog_data_input_manual[2]);
            		             HAL_GPIO_WritePin(GPIOC, GPIO_PIN_1,GPIO_PIN_RESET);
	                          }
		  break;

	  case 1:

/////////////////////////////////////////////////////////////////////////////////////////////////////////////////
//////////////////////CONTROLE///////////////////////////////////////////////////////////////////////////////////
//////////////////////////////////////CONTROLE///////////////////////////////////////////////////////////////////
////////////////////////////////////////////////////////CONTROLE/////////////////////////////////////////////////
////////////////////////////////////////////////////////////////////CONTROLE/////////////////////////////////////
/////////////////////////////////////////////////////////////////////////////////////////////////////////////////

//INIT FILTRO
		          //    vel_fil_p = -wc*vel_fil + wc*vel[0];
		         //     vel_fil = vel_fil + vel_fil_p*Tams;
//FIM FILTRO

//INICIO ERRO
                       erro=sp-vel[0];
//FIM ERRO

//INICIO - AÇÃO DE CONTROLE
                       if(erro > 0.1){
                    	   digital_data_input_auto[3]=1;
                           u=kp*erro;
//FIM - AÇÃO DE CONTROLE

                       if( abs(u) > 5 )  u = 5;

                           analog_data_input_auto[2] = abs(u)*4095/5;
                       }else
                    	   digital_data_input_auto[3]=0;

		  // THROTTLE
		             if(digital_data_input_auto[3]){
		            	 HAL_GPIO_WritePin(GPIOC, GPIO_PIN_0,GPIO_PIN_SET);
		                 HAL_DAC_SetValue(&hdac, DAC_CHANNEL_1,DAC_ALIGN_12B_R, (analog_data_input_auto[2]));
	  	  	     }else
		                   if(!digital_data_input_auto[3])
           	            	   HAL_DAC_SetValue(&hdac, DAC_CHANNEL_1,DAC_ALIGN_12B_R,  ofst);

 /*
             //BREAK
		             if(digital_data_input_auto[4]){
		            	  HAL_GPIO_WritePin(GPIOC, GPIO_PIN_1,GPIO_PIN_SET);
		                  HAL_DAC_SetValue(&hdac, DAC_CHANNEL_2,DAC_ALIGN_12B_R, (4096 - analog_data_input_auto[3]));
	  	  	        }else
	  	  	  	          if(!digital_data_input_auto[4])
		                       HAL_GPIO_WritePin(GPIOC, GPIO_PIN_1,GPIO_PIN_RESET);
*/
/*
		             sprintf(str1,"%i %i\n", (int)(1000*sp), (int)(1000*vel[0]));
		             strcpy(h,str1);
		             HAL_UART_Transmit(&huart2,h, sizeof(h), 20);
		             memset(str1,0,sizeof(str1));
		             memset(h,0,sizeof(h));
*/
	     break;
	  }

   //   cmd_a = - (trunc(1000*(encoder_abs_f[0] + 452.156)/(425.530 + 452.156))*15600/1000 - 7800);

     osDelay(100);

  }
  /* USER CODE END automatic_manual_mode_Task */
}

//cfg_v = 48*2*4,cfg_a = 48*2*4; 16900 -> excursão total

void task_stepper_function(void *argument){
  /* USER CODE BEGIN task_stepper_function */
	//VARIAVEIS UTILIZADAS PARA CONFIGURAR A ACELERAÇÃO E VELOCIDADE DO MOTOR DE PASSO
	uint16_t cfg_v = 48*2*4,cfg_a = 48*2*4, flags;
	//stepper.currentPos = sensor_enc_abs;
	stepperInit(&stepper);
	stepperSetSpeed(&stepper, 1);
	__HAL_TIM_SET_AUTORELOAD(&htim3, stepper.stepInverval);
	stepperSetAcceleration(&stepper, cfg_a); //48*2*4
	// Motor = 7.5°/Step, 1/4 Microstepping, speed =  2rev/s,
	stepperSetMaxSpeed(&stepper, cfg_v);     //48*2*4
	stepperSetAbsoluteTartePosition(&stepper, 0);
	__HAL_TIM_SET_AUTORELOAD(&htim3, stepper.stepInverval);
	 HAL_TIM_PWM_Start_IT(&htim3, TIM_CHANNEL_1);

  /* Infinite loop */
  for(;;){
	       flags = osThreadFlagsWait((TF_STEPPER_INT | TF_STEPPER_DATA), osFlagsWaitAny, osWaitForever);

	       if ((flags & TF_STEPPER_INT) == TF_STEPPER_INT){
	     	  stepperComputeNewSpeed(&stepper);
	    	  signal_pos_stepper(stepper.stepInverval);
	    	  __HAL_TIM_SET_AUTORELOAD(&htim3, stepper.stepInverval);
	         }
	       if ((flags & TF_STEPPER_DATA) == TF_STEPPER_DATA){
		     stepperComputeNewSpeed(&stepper);
		     signal_pos_stepper(stepper.stepInverval);
		     __HAL_TIM_SET_AUTORELOAD(&htim3, stepper.stepInverval);
	        }
  }
  /* USER CODE END task_stepper_function */
}

/* USER CODE BEGIN Application */
//#####################################################################################################################################
//#####################################################################################################################################
//#####################################################################################################################################
									    					/*INICIO - ROS CALLBACKS*/
//#####################################################################################################################################
//#####################################################################################################################################
//#####################################################################################################################################

//#####################################################################################################################################
									    					/*SUBSCRIBERS*/
//#####################################################################################################################################
void operation_mode_callback(const void * msgin){ // ALTERA O MODO DE OPERAÇÃO DE MANUAL - 0 PARA AUTOMATICO - 1
     const std_msgs__msg__UInt8 *operation_mode_msg;
	if (msgin != NULL){
	   operation_mode_msg = (const std_msgs__msg__UInt8 *)msgin;
           flg=operation_mode_msg->data;  // flag - operation mode , go to automatic_manual_mode
           digital_data_input_auto[2] = flg;    // go to check_status
	}
}

uint8_t pos_init_stepper_motor = 1;

void cmd_vel_callback(const void * msgin){

	const geometry_msgs__msg__Twist *cmd_vel_msg;

	if (msgin != NULL){
	    cmd_vel_msg = (const geometry_msgs__msg__Twist *)msgin;
            cmd_vel_buff[0]=cmd_vel_msg->linear.x;  // velocidade linear
            cmd_vel_buff[1]=cmd_vel_msg->angular.z; // posição angular
             if(pos_init_stepper_motor){
                 stepper.currentPos = - (trunc(1000*(encoder_abs_f[0] + 452.156)/(425.530 + 452.156))*15600/1000 - 7800); pos_init_stepper_motor = 0;  //atribui a posição inicial
             }
               if(cmd_vel_buff[1]>1) cmd_vel_buff[1] = 1;
               if(cmd_vel_buff[1]<-1) cmd_vel_buff[1] = -1;
               stepper.targetPos = cmd_vel_buff[1]*(gain_stepper*780);    // define a posição do angulo de esterçamento [-1 ... 1]
               osThreadFlagsSet(task_stepperHandle, TF_STEPPER_DATA);
	}
}
//#####################################################################################################################################
									    					/*PUBLISHERS*/
//#####################################################################################################################################
void golfinho_imu_timer_callback(rcl_timer_t * timer, int64_t last_call_time){
	int device_id = 1234;
	int seq_no = 10;

	(void) last_call_time;

	if (timer != NULL) {
		sprintf(imu_.header.frame_id.data, "%d_%d", seq_no, device_id);
		imu_.header.frame_id.size = strlen(imu_.header.frame_id.data);

		if(!flg_ImuGps_Sterr){
		   imu_.orientation.x = 0;
		   imu_.orientation.y = 0;
		   imu_.orientation.z = 0;
		   imu_.orientation.w = 0;

		   imu_.angular_velocity.x = canRX[0];
		   imu_.angular_velocity.y = canRX[1];
		   imu_.angular_velocity.z = canRX[2];

		   imu_.linear_acceleration.x = canRX[3];
		   imu_.linear_acceleration.y = canRX[4];
		   imu_.linear_acceleration.z = canRX[5];
		}
		// Fill the message timestamp
		struct timespec ts;
		clock_gettime(CLOCK_REALTIME, &ts);
		imu_.header.stamp.sec = ts.tv_sec;
		imu_.header.stamp.nanosec = ts.tv_nsec;

		rcl_ret_t ret = rcl_publish(&ros2_imu_pub,&imu_, NULL);

		if (ret != RCL_RET_OK){
		  printf("Error publishing gpio inputs (line %d)\n", __LINE__);
		}
      }
}

void odom_callback(rcl_timer_t * timer, int64_t last_call_time){
	int device_id = 4321;
	int seq_no = 15;

	(void) last_call_time;

	if (timer != NULL) {
		sprintf(odom.header.frame_id.data, "%d_%d", seq_no, device_id);
		odom.header.frame_id.size = strlen(odom.header.frame_id.data);

		sprintf(odom.child_frame_id.data, "%d_%d", seq_no, device_id);
		odom.child_frame_id.size = strlen(odom.child_frame_id.data);

		odom.pose.pose.position.x = 0;
		odom.pose.pose.position.y = 0;
		odom.pose.pose.position.z = 0;

		odom.pose.pose.orientation.x = 0;
		odom.pose.pose.orientation.y = 0;
		odom.pose.pose.orientation.z = 0;
		odom.pose.pose.orientation.w = 0;

		odom.pose.covariance[0]  = 1.0e-05;
		odom.pose.covariance[7]  = 1.0e-05;
		odom.pose.covariance[14] = 1000000000000.0;
		odom.pose.covariance[21] = 1000000000000.0;
		odom.pose.covariance[28] = 1000000000000.0;
		odom.pose.covariance[35]  =  0.001;

		odom.twist.twist.linear.x = 0;
		odom.twist.twist.linear.y = 0;
		odom.twist.twist.linear.z = 0;

		odom.twist.twist.angular.x = 0;
		odom.twist.twist.angular.y = 0;
		odom.twist.twist.angular.z = 0;

		odom.twist.covariance[0]  = 1.0e-05;
		odom.twist.covariance[7]  = 1.0e-05;
		odom.twist.covariance[14] = 1000000000000.0;
		odom.twist.covariance[21] = 1000000000000.0;
		odom.twist.covariance[28] = 1000000000000.0;
		odom.twist.covariance[35]  =  0.001;

		// Fill the message timestamp
		struct timespec ts;
		clock_gettime(CLOCK_REALTIME, &ts);
		odom.header.stamp.sec = ts.tv_sec;
		odom.header.stamp.nanosec = ts.tv_nsec;

		rcl_ret_t ret = rcl_publish(&odom_pub,&odom, NULL);
		if (ret != RCL_RET_OK){
		  printf("Error publishing gpio inputs (line %d)\n", __LINE__);
		}
   }
}

// ESTERÇAMENTO
double data0 = 0, data1 = 0;

void golfinho_joint_steering_timer_callback(rcl_timer_t * timer, int64_t last_call_time){
	int device_id = 012;
	int seq_no = 01;

	(void) last_call_time;
	if (timer != NULL) {

		sprintf(joint_steering.header.frame_id.data, "%d_%d", seq_no, device_id);
		joint_steering.header.frame_id.size = strlen(joint_steering.header.frame_id.data);

		// Fill the message timestamp
		struct timespec ts;
		clock_gettime(CLOCK_REALTIME, &ts);
		joint_steering.header.stamp.sec = ts.tv_sec;
		joint_steering.header.stamp.nanosec = ts.tv_nsec;
		data0 = trunc(10000*(0.5236*encoder_abs_f[0]/780))/10000; //[rad]
		joint_steering.position.data = & data0;
		joint_steering.velocity.data = & data1;
		joint_steering.effort.data = &data1;

		rcl_ret_t ret = rcl_publish(&ros2_joint_steering_pub,&joint_steering, NULL);

		if (ret != RCL_RET_OK)
		{
		  printf("Error publishing gpio inputs (line %d)\n", __LINE__);
		}
	}

}

//PPPPPPPPPPPPPPPPPPPPPPPPPPPPPPPPPPPPPPPPPPPPPPPPPPPPPPPPPPPPPPPPPPPPPPPPPPPPPPPPPPPPPPPPPPPPPPPPPPPPPPPPPPPPPPPPPPPPPP
//PPPPPPPPPPPPPPPPPPPPPPPPPPPPPPPPPPPPPPPPPPPPPPPPPPPPPPPPPPPPPPPPPPPPPPPPPPPPPPPPPPPPPPPPPPPPPPPPPPPPPPPPPPPPPPPPPPPPPP
//PPPPPPPPPPPPPPPPPPPPPPPPPPPPPPPPPPPPPPPPPPPPPPPPPPPPPPPPPPPPPPPPPPPPPPPPPPPPPPPPPPPPPPPPPPPPPPPPPPPPPPPPPPPPPPPPPPPPPP
//PPPPPPPPPPPPPPPPPPPPPPPPPPPPPPPPPPPPPPPPPPPPPPPPPPPPPPPPPPPPPPPPPPPPPPPPPPPPPPPPPPPPPPPPPPPPPPPPPPPPPPPPPPPPPPPPPPPPPP
//PPPPPPPPPPPPPPPPPPPPPPPPPPPPPPPPPPPPPPPPPPPPPPPPPPPPPPPPPPPPPPPPPPPPPPPPPPPPPPPPPPPPPPPPPPPPPPPPPPPPPPPPPPPPPPPPPPPPPP
void golfinho_motion_status_gps_timer_callback(rcl_timer_t * timer, int64_t last_call_time){
	if(flg){ // status dos dois modos de operação
	                 golfinho_motion_status_gps_msg.data.data[1] = trunc(10000*(0.5236*encoder_abs_f[0]/780))/10000; // steer
		      if(digital_data_input_auto[3]) //acelerador
		                 golfinho_motion_status_gps_msg.data.data[2] = analog_data_input_auto[2]*100/4095;
		               else
		                 golfinho_motion_status_gps_msg.data.data[2]=0;

		      if(digital_data_input_auto[4]) //break
                         golfinho_motion_status_gps_msg.data.data[3] = analog_data_input_auto[3]*100/4095;
	    	           else
	        	         golfinho_motion_status_gps_msg.data.data[3]=0;

	        	 golfinho_motion_status_gps_msg.data.data[4] = analog_data_input_manual[4]*100/4095; // batery car
	         	 golfinho_motion_status_gps_msg.data.data[5] = analog_data_input_manual[5]*100/4095; // batery system

                 //CHECK STATUS
		         golfinho_motion_status_gps_msg.data.data[6] = digital_data_input_manual[1];//key_switch - status
		         golfinho_motion_status_gps_msg.data.data[7] = digital_data_input_auto[2];  //op_mode
		         golfinho_motion_status_gps_msg.data.data[8] = digital_data_input_auto[3];  //key_throttle
		         golfinho_motion_status_gps_msg.data.data[9] = digital_data_input_auto[4];  //key_break

			    	//GPS
			    if(!flg_ImuGps_Sterr){
			         golfinho_motion_status_gps_msg.data.data[10] = canRX[5];  //altitude
			         golfinho_motion_status_gps_msg.data.data[11] = canRX[6];  //latitude
			         golfinho_motion_status_gps_msg.data.data[12] = canRX[7];  //longitude
			      }

			 }else{

				    golfinho_motion_status_gps_msg.data.data[1] = trunc(10000*(0.5236*encoder_abs_f[0]/780))/10000; // steer

                 if(digital_data_input_manual[3]) //acelerador
			             golfinho_motion_status_gps_msg.data.data[2] = analog_data_input_manual[2]*100/4095;
				    else
			             golfinho_motion_status_gps_msg.data.data[2] = 0;

			    if(digital_data_input_manual[4]) //freio
			    	     golfinho_motion_status_gps_msg.data.data[3] = analog_data_input_manual[3]*100/4095;
			        else
			    	     golfinho_motion_status_gps_msg.data.data[3] = 0;

			    golfinho_motion_status_gps_msg.data.data[4] = analog_data_input_manual[4]*100/4095; // batery car
				golfinho_motion_status_gps_msg.data.data[5] = analog_data_input_manual[5]*100/4095; // batery system

                //CHECK STATUS
		    	golfinho_motion_status_gps_msg.data.data[6] = digital_data_input_manual[1]; // key_switch
		    	golfinho_motion_status_gps_msg.data.data[7] = digital_data_input_auto[2];   //op_mode
		    	golfinho_motion_status_gps_msg.data.data[8] = digital_data_input_manual[3]; //key_throttle
		    	golfinho_motion_status_gps_msg.data.data[9] = digital_data_input_manual[4]; //key_break

		    	//GPS
		    	if(!flg_ImuGps_Sterr){
		         golfinho_motion_status_gps_msg.data.data[10] = canRX[5];  //altitude
		         golfinho_motion_status_gps_msg.data.data[11] = canRX[6];  //latitude
		         golfinho_motion_status_gps_msg.data.data[12] = canRX[7]; //longitude
		    	}

   	       }
		// Publish the message
		rcl_ret_t ret = rcl_publish(&ros2_motion_status_gps_pub,&golfinho_motion_status_gps_msg, NULL);
		if (ret != RCL_RET_OK){
		  printf("Error publishing gpio inputs (line %d)\n", __LINE__);
		}
}

//#####################################################################################################################################
//#####################################################################################################################################
//#####################################################################################################################################
									    					/*FIM - ROS CALLBACKS*/
//#####################################################################################################################################
//#####################################################################################################################################
//#####################################################################################################################################

//////////////////////////////////////////////////////////////
//REALIZA A CONFIGURAÇÃO DO CANAL PARA A LEITURA ANALOGICA
//////////////////////////////////////////////////////////////

void ADC_select_channel_break (void){
	ADC_ChannelConfTypeDef sConfig = {0};
	  /** Configure for the selected ADC regular channel its corresponding rank in the sequencer and its sample time.
	  */
	  sConfig.Channel = ADC_CHANNEL_8;
	  sConfig.Rank = ADC_REGULAR_RANK_1;
	  sConfig.SamplingTime = ADC_SAMPLETIME_1CYCLE_5;
	  if (HAL_ADC_ConfigChannel(&hadc1, &sConfig) != HAL_OK)
	  {
	    Error_Handler();
	  }
}

void ADC_select_channel_Throttle (void)
{
	ADC_ChannelConfTypeDef sConfig = {0};
	  /** Configure for the selected ADC regular channel its corresponding rank in the sequencer and its sample time.
	  */
	  sConfig.Channel = ADC_CHANNEL_9;
	  sConfig.Rank = ADC_REGULAR_RANK_1;
	  if (HAL_ADC_ConfigChannel(&hadc1, &sConfig) != HAL_OK)
	  {
	    Error_Handler();
	  }
}

void ADC_select_channel_batery_car(void)
{
	ADC_ChannelConfTypeDef sConfig = {0};
	  /** Configure for the selected ADC regular channel its corresponding rank in the sequencer and its sample time.
	  */
	  sConfig.Channel = ADC_CHANNEL_6;
	  sConfig.Rank = ADC_REGULAR_RANK_1;
	  if (HAL_ADC_ConfigChannel(&hadc1, &sConfig) != HAL_OK)
	  {
	    Error_Handler();
	  }
}

void ADC_select_channel_system_batery(void)
{
	ADC_ChannelConfTypeDef sConfig = {0};
	  /** Configure for the selected ADC regular channel its corresponding rank in the sequencer and its sample time.
	  */
	  sConfig.Channel = ADC_CHANNEL_7;
	  sConfig.Rank = ADC_REGULAR_RANK_1;
	  if (HAL_ADC_ConfigChannel(&hadc1, &sConfig) != HAL_OK)
	  {
	    Error_Handler();
	  }
}

//////////////////////////////////////////////////////////////
//REALIZA A CONFIGURAÇÃO DO CANAL PARA A LEITURA ANALOGICA
//////////////////////////////////////////////////////////////

//////////////////////////////////////////////////////////////
//INCIO - LEITURA DOS SENSORES ATRAVES DA COMUNICAÇÃO CAN
//////////////////////////////////////////////////////////////
void HAL_CAN_RxFifo0MsgPendingCallback(CAN_HandleTypeDef *hcan1){
  if (HAL_CAN_GetRxMessage(hcan1, CAN_RX_FIFO0, &rxHeader, canRX) != HAL_OK){Error_Handler();}
     // Ao receber dados de um dispositivo conectado a rede can, a "flag_no"
     // informa qual dispositivo enviou os dados que se encontra no buffer canRX onde será
     // direcionado para a callback associada ao nivel lógico da flag.
     if(rxHeader.StdId == 485)  flg_ImuGps_Sterr=1;
     if(rxHeader.StdId == 0)   flg_ImuGps_Sterr=0;
}
//////////////////////////////////////////////////////////////
//FIM - LEITURA DOS SENSORES ATRAVES DA COMUNICAÇÃO CAN
//////////////////////////////////////////////////////////////

//////////////////////////////////////////////////////////////
//INICIO - ESTRATEGIA DE CONTROLE PARA O MOTOR DE PASSO
//////////////////////////////////////////////////////////////

//////////////////////////////////////////////////////////////////////////////////
//GERADOR DE PULSO POR INTERRUPÇÃO - ESTRATEGIA DE CONTROLE PARA O MOTOR DE PASSO
//////////////////////////////////////////////////////////////////////////////////
void HAL_TIM_PeriodElapsedCallback(TIM_HandleTypeDef *htim){
  /* USER CODE BEGIN Callback 0 */
  /* USER CODE END Callback 0 */
  if (htim->Instance == TIM1) {HAL_IncTick();}

  if (htim->Instance == TIM2) {
      HAL_GPIO_WritePin(GPIOC, GPIO_PIN_15, GPIO_PIN_SET);    //troca realizada em jul 28 de GPIO_PIN_13 para GPIO_PIN_15
      for(int i=0;i<999;i++);
      HAL_GPIO_WritePin(GPIOC, GPIO_PIN_15, GPIO_PIN_RESET);
      HAL_IncTick();
  }
  /* USER CODE BEGIN Callback 1 */
  /* USER CODE END Callback 1 */
}
//////////////////////////////////////////////////////////////////////////////////
//GERADOR DE PULSO POR INTERRUPÇÃO - ESTRATEGIA DE CONTROLE PARA O MOTOR DE PASSO
//////////////////////////////////////////////////////////////////////////////////

//////////////////////////////////////////////////////////////////////////////////
//INCIO - CALCULA A DISTÂNCIA ENTRE OS PULSOS
//////////////////////////////////////////////////////////////////////////////////

//uint32_t stepper_interval;

void signal_pos_stepper(uint32_t pos_){
	  stepper_interval = pos_;
	  htim2.Instance->ARR = stepper_interval;
	  change_period();
}

void change_period(void){                       //DISTÂNCIA ENTRE OS PULSOS
  /* USER CODE BEGIN TIM2_Init 0 */

  /* USER CODE END TIM2_Init 0 */
  TIM_ClockConfigTypeDef sClockSourceConfig = {0};
  TIM_MasterConfigTypeDef sMasterConfig = {0};

  /* USER CODE BEGIN TIM2_Init 1 */

  /* USER CODE END TIM2_Init 1 */
  htim2.Instance = TIM2;
  htim2.Init.Prescaler = 36000;
  htim2.Init.CounterMode = TIM_COUNTERMODE_UP;
  htim2.Init.Period = stepper_interval;
  htim2.Init.ClockDivision = TIM_CLOCKDIVISION_DIV1;
  htim2.Init.AutoReloadPreload = TIM_AUTORELOAD_PRELOAD_DISABLE;
  if (HAL_TIM_Base_Init(&htim2) != HAL_OK)
  {
    Error_Handler();
  }
  sClockSourceConfig.ClockSource = TIM_CLOCKSOURCE_INTERNAL;
  if (HAL_TIM_ConfigClockSource(&htim2, &sClockSourceConfig) != HAL_OK)
  {
    Error_Handler();
  }
  sMasterConfig.MasterOutputTrigger = TIM_TRGO_RESET;
  sMasterConfig.MasterSlaveMode = TIM_MASTERSLAVEMODE_DISABLE;
  if (HAL_TIMEx_MasterConfigSynchronization(&htim2, &sMasterConfig) != HAL_OK)
  {
    Error_Handler();
  }
  /* USER CODE BEGIN TIM2_Init 2 */
  /* USER CODE END TIM2_Init 2 */
}
//////////////////////////////////////////////////////////////////////////////////
//FIM - CALCULA A DISTÂNCIA ENTRE OS PULSOS
//////////////////////////////////////////////////////////////////////////////////

/////////////////////////////////////////////////////////////////
//INICIO - DIREÇÃO - SENTIDD DE GIRO DO MOTOR DE PASSO
/////////////////////////////////////////////////////////////////
void HAL_TIM_PWM_PulseFinishedCallback(TIM_HandleTypeDef *htim){
	if(htim->Instance == TIM3){
	   if(stepper.direction == DIRECTION_CW){
		     stepper.currentPos++;
		     HAL_GPIO_WritePin(GPIOC, GPIO_PIN_14, GPIO_PIN_SET);
	    }else{
		     stepper.currentPos--;
		     HAL_GPIO_WritePin(GPIOC, GPIO_PIN_14, GPIO_PIN_RESET);
		}
	    osThreadFlagsSet(task_stepperHandle, TF_STEPPER_INT);
	}
}
/////////////////////////////////////////////////////////////////
//FIM - DIREÇÃO - SENTIDD DE GIRO DO MOTOR DE PASSO
/////////////////////////////////////////////////////////////////

//////////////////////////////////////////////////////////////
//FIM - ESTRATEGIA DE CONTROLE PARA O MOTOR DE PASSO
//////////////////////////////////////////////////////////////

/*
		  //KEY SWITCH
		  	    	 switch(digital_data_input_manual[1]){
		  	//FRENTE
		  	    	 case 1:

		  	              HAL_GPIO_WritePin(GPIOC, GPIO_PIN_2,GPIO_PIN_RESET); //a -- BRANCO
		  	              HAL_GPIO_WritePin(GPIOC, GPIO_PIN_3,GPIO_PIN_RESET); //c -- VERDE
		  	              HAL_GPIO_WritePin(GPIOC, GPIO_PIN_4,GPIO_PIN_RESET); //d -- VERMELHO
		  		     break;

		  	    	 case 2:

		     	    	  HAL_GPIO_WritePin(GPIOC, GPIO_PIN_2,GPIO_PIN_RESET); //a -- BRANCO
		   	              HAL_GPIO_WritePin(GPIOC, GPIO_PIN_3,GPIO_PIN_SET);   //c -- VERDE
		  	              HAL_GPIO_WritePin(GPIOC, GPIO_PIN_4,GPIO_PIN_SET);   //d -- VERMELHO
		               break;
		  	// RÉ
		  	    	 case 3:
		                        //c
		  			              HAL_GPIO_WritePin(GPIOC, GPIO_PIN_2,GPIO_PIN_SET);     //a -- BRANCO
		  			         	  HAL_GPIO_WritePin(GPIOC, GPIO_PIN_3,GPIO_PIN_RESET);   //c -- VERDE
		  			              HAL_GPIO_WritePin(GPIOC, GPIO_PIN_4,GPIO_PIN_SET);     //d -- VERMELHO
		                      break;
		  	// NEUTRO
		  	    	 case 4:
		                       //D
		                        	 HAL_GPIO_WritePin(GPIOC, GPIO_PIN_2,GPIO_PIN_RESET);     //a -- BRANCO
		                         	 HAL_GPIO_WritePin(GPIOC, GPIO_PIN_3,GPIO_PIN_RESET);   //c -- VERDE
		                           HAL_GPIO_WritePin(GPIOC, GPIO_PIN_4,GPIO_PIN_SET);     //d -- VERMELHO
		               break;

		  	    	 }

*/
/* USER CODE END Application */
